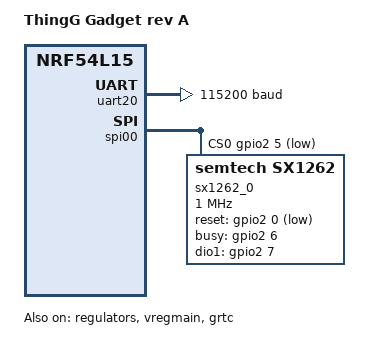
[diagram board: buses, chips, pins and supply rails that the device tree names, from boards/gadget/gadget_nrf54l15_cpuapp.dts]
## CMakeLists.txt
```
# Copyright (c) 2026 ThingG
# SPDX-License-Identifier: Apache-2.0

cmake_minimum_required(VERSION 3.20.0)

find_package(Zephyr REQUIRED HINTS $ENV{ZEPHYR_BASE})
project(gadget)

target_sources(app PRIVATE src/main.c)
```

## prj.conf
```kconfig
# Copyright (c) 2026 ThingG
# SPDX-License-Identifier: Apache-2.0
```

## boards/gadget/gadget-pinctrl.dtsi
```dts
/*
 * Gadget rev A provisional pin assignments.
 *
 * The schematic is still in progress; these pins are placeholders chosen
 * from the nRF54L15 QFN48 GPIO0/GPIO1/GPIO2 banks and must be re-checked
 * against the finished schematic before rev A is fabricated.
 */

&pinctrl {
	/omit-if-no-ref/ uart20_default: uart20_default {
		group1 {
			psels = <NRF_PSEL(UART_TX, 1, 4)>;
		};

		group2 {
			psels = <NRF_PSEL(UART_RX, 1, 5)>;
			bias-pull-up;
		};
	};

	/omit-if-no-ref/ uart20_sleep: uart20_sleep {
		group1 {
			psels = <NRF_PSEL(UART_TX, 1, 4)>,
				<NRF_PSEL(UART_RX, 1, 5)>;
			low-power-enable;
		};
	};

	/omit-if-no-ref/ spi00_default: spi00_default {
		group1 {
			psels = <NRF_PSEL(SPIM_SCK, 2, 1)>,
				<NRF_PSEL(SPIM_MOSI, 2, 2)>,
				<NRF_PSEL(SPIM_MISO, 2, 4)>;
		};
	};

	/omit-if-no-ref/ spi00_sleep: spi00_sleep {
		group1 {
			psels = <NRF_PSEL(SPIM_SCK, 2, 1)>,
				<NRF_PSEL(SPIM_MOSI, 2, 2)>,
				<NRF_PSEL(SPIM_MISO, 2, 4)>;
			low-power-enable;
		};
	};
};
```

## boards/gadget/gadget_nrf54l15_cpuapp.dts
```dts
/*
 * Gadget rev A - custom board definition for the ThingG mesh communicator.
 *
 * MCU: nRF54L15 (Cortex-M33), dual SX1262 LoRa radios, e-ink, GPS.
 * This first revision only wires the debug console and LoRa radio #1;
 * the remaining peripherals land with their drivers in later milestones.
 */

/dts-v1/;

#include <nordic/nrf54l15_cpuapp.dtsi>
#include "gadget-pinctrl.dtsi"

/ {
	compatible = "thingg,gadget";
	model = "ThingG Gadget rev A";

	chosen {
		zephyr,console = &uart20;
		zephyr,shell-uart = &uart20;
		zephyr,flash-controller = &rram_controller;
		zephyr,flash = &cpuapp_rram;
		zephyr,code-partition = &slot0_partition;
		zephyr,sram = &cpuapp_sram;
	};
};

/* Include default memory partition configuration file */
#include <vendor/nordic/nrf54l15_cpuapp_partition.dtsi>

&cpuapp_sram {
	status = "okay";
};

&lfxo {
	load-capacitors = "internal";
	load-capacitance-femtofarad = <17000>;
};

&hfxo {
	load-capacitors = "internal";
	load-capacitance-femtofarad = <15000>;
};

&regulators {
	status = "okay";
};

&vregmain {
	status = "okay";
	regulator-initial-mode = <NRF5X_REG_MODE_DCDC>;
};

&grtc {
	owned-channels = <0 1 2 3 4 5 6 7 8 9 10 11>;
	/* Channels 7-11 reserved for Zero Latency IRQs, 3-4 for FLPR */
	child-owned-channels = <3 4 7 8 9 10 11>;
	status = "okay";
};

&gpio0 {
	status = "okay";
};

&gpio1 {
	status = "okay";
};

&gpio2 {
	status = "okay";
};

&gpiote20 {
	status = "okay";
};

&gpiote30 {
	status = "okay";
};

&clock {
	status = "okay";
};

&uart20 {
	status = "okay";
	current-speed = <115200>;
	pinctrl-0 = <&uart20_default>;
	pinctrl-1 = <&uart20_sleep>;
	pinctrl-names = "default", "sleep";
};

/* SX1262 #1, LoRa control plane, 915 MHz */
&spi00 {
	compatible = "nordic,nrf-spim";
	status = "okay";
	cs-gpios = <&gpio2 5 GPIO_ACTIVE_LOW>;
	pinctrl-0 = <&spi00_default>;
	pinctrl-1 = <&spi00_sleep>;
	pinctrl-names = "default", "sleep";

	sx1262_0: sx1262@0 {
		compatible = "semtech,sx1262";
		reg = <0>;
		spi-max-frequency = <DT_FREQ_M(1)>;
		reset-gpios = <&gpio2 0 GPIO_ACTIVE_LOW>;
		busy-gpios = <&gpio2 6 GPIO_ACTIVE_HIGH>;
		dio1-gpios = <&gpio2 7 GPIO_ACTIVE_HIGH>;
	};
};
```

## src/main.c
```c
/*
 * Copyright (c) 2026 ThingG
 * SPDX-License-Identifier: Apache-2.0
 */

#include <zephyr/kernel.h>
#include <zephyr/sys/printk.h>

int main(void)
{
	printk("ThingG Gadget rev A on nRF54L15\n");

	return 0;
}
```
